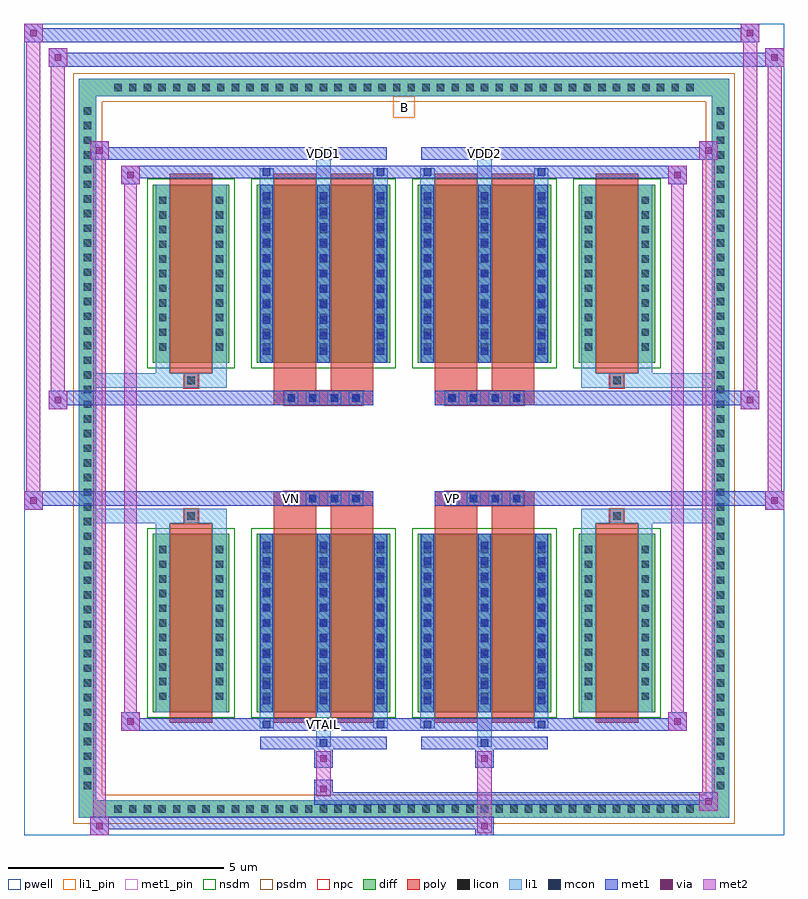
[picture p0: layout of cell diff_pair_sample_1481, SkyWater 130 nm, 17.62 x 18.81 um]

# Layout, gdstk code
import gdstk
lib = gdstk.Library(unit=1e-6, precision=5e-09)
def R(c, l, rs):  # rectangles x0, y0, x1, y1
    for r in rs: c.add(gdstk.rectangle(r[:2], r[2:], *l))
def A(c, l, x, y, w, h, nx, ny, dx, dy):  # array of equal rectangles
    R(c, l, [(x+i*dx, y+j*dy, x+i*dx+w, y+j*dy+h) for i in range(nx) for j in range(ny)])
def P(c, l, *ps):  # polygons
    for p in ps: c.add(gdstk.Polygon(p, *l))
pwell = (64, 44)
diff = (65, 20)
poly = (66, 20)
licon = (66, 44)
li1_pin = (67, 16)
li1 = (67, 20)
mcon = (67, 44)
met1_pin = (68, 16)
met1 = (68, 20)
via = (68, 44)
met2 = (69, 20)
nsdm = (93, 44)
psdm = (94, 20)
npc = (95, 20)

diff_pair_sample_1481 = lib.new_cell('diff_pair_sample_1481')
R(diff_pair_sample_1481, pwell, [(-8.81,-8.97,8.81,9.84), (-6.13,-7.16,-0.01,-0.8), (0.01,-7.16,6.13,-0.8), (-6.13,0.8,-0.01,7.16), (0.01,0.8,6.13,7.16)])
A(diff_pair_sample_1481, diff, -6.835, -8.57, 0.41, 0.41, 40, 2, 0.34, 16.73)
A(diff_pair_sample_1481, diff, -7.54, -8.025, 0.41, 0.41, 1, 47, 0, 0.34)
A(diff_pair_sample_1481, diff, 7.13, -8.025, 0.41, 0.41, 1, 47, 0, 0.34)
R(diff_pair_sample_1481, diff, [(-6.835,-8.57,6.835,-8.16), (-7.54,-8.025,-7.13,8.025), (7.13,-8.025,7.54,8.025), (-5.82,-6.115,-4.05,-1.985), (-3.41,-6.115,-0.32,-1.985), (0.32,-6.115,3.41,-1.985), (4.05,-6.115,5.82,-1.985), (-5.82,1.985,-4.05,6.115), (-3.41,1.985,-0.32,6.115), (0.32,1.985,3.41,6.115), (4.05,1.985,5.82,6.115), (-6.835,8.16,6.835,8.57)])
P(diff_pair_sample_1481, diff, [(7.54,8.57),(-7.54,8.57),(-7.54,-8.16),(-7.13,-8.16),(-7.13,8.16),(7.13,8.16),(7.13,-8.16),(-7.13,-8.16),(-7.54,-8.16),(-7.54,-8.57),(7.54,-8.57)])
A(diff_pair_sample_1481, poly, -2.78, -1.33, 0.33, 0.33, 4, 2, 0.5, 2.33)
A(diff_pair_sample_1481, poly, 0.95, -1.33, 0.33, 0.33, 4, 2, 0.5, 2.33)
R(diff_pair_sample_1481, poly, [(-5.43,-6.365,-4.44,-1.735), (-3.02,-6.365,-2.03,-1.735), (-1.7,-6.365,-0.71,-1.735), (0.71,-6.365,1.7,-1.735), (2.03,-6.365,3.02,-1.735), (4.44,-6.365,5.43,-1.735), (-5.1,-1.735,-4.77,-1.405), (-5.1,-1.735,-4.77,-1.405), (-3.02,-1.735,-2.03,-1.33), (-1.7,-1.735,-0.71,-1.33), (0.71,-1.735,1.7,-1.33), (2.03,-1.735,3.02,-1.33), (4.77,-1.735,5.1,-1.405), (4.77,-1.735,5.1,-1.405), (-3.02,-1.33,-0.71,-1), (0.71,-1.33,3.02,-1), (-3.02,1,-0.71,1.33), (0.71,1,3.02,1.33), (-3.02,1.33,-2.03,1.735), (-1.7,1.33,-0.71,1.735), (0.71,1.33,1.7,1.735), (2.03,1.33,3.02,1.735), (-5.1,1.405,-4.77,1.735), (-5.1,1.405,-4.77,1.735), (4.77,1.405,5.1,1.735), (4.77,1.405,5.1,1.735), (-5.43,1.735,-4.44,6.365), (-3.02,1.735,-2.03,6.365), (-1.7,1.735,-0.71,6.365), (0.71,1.735,1.7,6.365), (2.03,1.735,3.02,6.365), (4.44,1.735,5.43,6.365)])
A(diff_pair_sample_1481, licon, -6.715, -8.45, 0.17, 0.17, 40, 2, 0.34, 16.73)
A(diff_pair_sample_1481, licon, -7.42, -7.905, 0.17, 0.17, 1, 47, 0, 0.34)
A(diff_pair_sample_1481, licon, 7.25, -7.905, 0.17, 0.17, 1, 47, 0, 0.34)
A(diff_pair_sample_1481, licon, -5.68, -5.835, 0.17, 0.17, 1, 11, 0, 0.34)
A(diff_pair_sample_1481, licon, -4.36, -5.835, 0.17, 0.17, 1, 11, 0, 0.34)
A(diff_pair_sample_1481, licon, -3.27, -5.835, 0.17, 0.17, 3, 11, 1.32, 0.34)
A(diff_pair_sample_1481, licon, 0.46, -5.835, 0.17, 0.17, 3, 11, 1.32, 0.34)
A(diff_pair_sample_1481, licon, 4.19, -5.835, 0.17, 0.17, 1, 11, 0, 0.34)
A(diff_pair_sample_1481, licon, 5.51, -5.835, 0.17, 0.17, 1, 11, 0, 0.34)
A(diff_pair_sample_1481, licon, -2.7, -1.25, 0.17, 0.17, 4, 2, 0.5, 2.33)
A(diff_pair_sample_1481, licon, 1.03, -1.25, 0.17, 0.17, 4, 2, 0.5, 2.33)
A(diff_pair_sample_1481, licon, -5.68, 2.265, 0.17, 0.17, 1, 11, 0, 0.34)
A(diff_pair_sample_1481, licon, -4.36, 2.265, 0.17, 0.17, 1, 11, 0, 0.34)
A(diff_pair_sample_1481, licon, -3.27, 2.265, 0.17, 0.17, 3, 11, 1.32, 0.34)
A(diff_pair_sample_1481, licon, 0.46, 2.265, 0.17, 0.17, 3, 11, 1.32, 0.34)
A(diff_pair_sample_1481, licon, 4.19, 2.265, 0.17, 0.17, 1, 11, 0, 0.34)
A(diff_pair_sample_1481, licon, 5.51, 2.265, 0.17, 0.17, 1, 11, 0, 0.34)
R(diff_pair_sample_1481, licon, [(-5.02,-1.655,-4.85,-1.485), (4.85,-1.655,5.02,-1.485), (-5.02,1.485,-4.85,1.655), (4.85,1.485,5.02,1.655)])
R(diff_pair_sample_1481, li1_pin, [(-0.25,7.66,0.25,8.16)])
A(diff_pair_sample_1481, li1, -6.795, -8.53, 0.33, 0.33, 40, 2, 0.34, 16.73)
A(diff_pair_sample_1481, li1, -7.5, -7.985, 0.33, 0.33, 1, 47, 0, 0.34)
A(diff_pair_sample_1481, li1, 7.17, -7.985, 0.33, 0.33, 1, 47, 0, 0.34)
A(diff_pair_sample_1481, li1, -3.35, -6.115, 0.33, 4.13, 3, 2, 1.32, 8.1)
A(diff_pair_sample_1481, li1, 0.38, -6.115, 0.33, 4.13, 3, 2, 1.32, 8.1)
A(diff_pair_sample_1481, li1, -3.27, -5.935, 0.17, 0.17, 3, 11, 1.32, 0.36)
A(diff_pair_sample_1481, li1, -3.27, -5.935, 0.17, 3.77, 3, 2, 1.32, 8.1)
A(diff_pair_sample_1481, li1, 0.46, -5.935, 0.17, 0.17, 3, 11, 1.32, 0.36)
A(diff_pair_sample_1481, li1, 0.46, -5.935, 0.17, 3.77, 3, 2, 1.32, 8.1)
A(diff_pair_sample_1481, li1, -5.76, -5.915, 0.33, 0.33, 1, 11, 0, 0.34)
A(diff_pair_sample_1481, li1, -4.44, -5.915, 0.33, 0.33, 1, 11, 0, 0.34)
A(diff_pair_sample_1481, li1, -3.35, -5.915, 0.33, 0.33, 3, 11, 1.32, 0.34)
A(diff_pair_sample_1481, li1, 0.38, -5.915, 0.33, 0.33, 3, 11, 1.32, 0.34)
A(diff_pair_sample_1481, li1, 4.11, -5.915, 0.33, 0.33, 1, 11, 0, 0.34)
A(diff_pair_sample_1481, li1, 5.43, -5.915, 0.33, 0.33, 1, 11, 0, 0.34)
A(diff_pair_sample_1481, li1, -2.78, -1.33, 0.33, 0.33, 4, 2, 0.5, 2.33)
A(diff_pair_sample_1481, li1, 0.95, -1.33, 0.33, 0.33, 4, 2, 0.5, 2.33)
A(diff_pair_sample_1481, li1, -3.27, 2.165, 0.17, 0.17, 3, 11, 1.32, 0.36)
A(diff_pair_sample_1481, li1, 0.46, 2.165, 0.17, 0.17, 3, 11, 1.32, 0.36)
A(diff_pair_sample_1481, li1, -5.76, 2.185, 0.33, 0.33, 1, 11, 0, 0.34)
A(diff_pair_sample_1481, li1, -4.44, 2.185, 0.33, 0.33, 1, 11, 0, 0.34)
A(diff_pair_sample_1481, li1, -3.35, 2.185, 0.33, 0.33, 3, 11, 1.32, 0.34)
A(diff_pair_sample_1481, li1, 0.38, 2.185, 0.33, 0.33, 3, 11, 1.32, 0.34)
A(diff_pair_sample_1481, li1, 4.11, 2.185, 0.33, 0.33, 1, 11, 0, 0.34)
A(diff_pair_sample_1481, li1, 5.43, 2.185, 0.33, 0.33, 1, 11, 0, 0.34)
R(diff_pair_sample_1481, li1, [(-7.54,-8.57,-7.13,-8.16), (-7.54,-8.57,-7.13,-8.16), (-7.13,-8.57,7.13,-8.16), (7.13,-8.57,7.54,-8.16), (7.13,-8.57,7.54,-8.16), (-7.54,-8.16,-7.13,8.16), (7.13,-8.16,7.54,8.16), (-2.03,-6.92,-1.7,-6.115), (-1.95,-6.92,-1.78,-6.75), (1.7,-6.92,2.03,-6.115), (1.78,-6.92,1.95,-6.75), (-3.35,-6.49,-3.02,-6.115), (-3.27,-6.49,-3.1,-6.32), (-0.71,-6.49,-0.38,-6.115), (-0.63,-6.49,-0.46,-6.32), (0.38,-6.49,0.71,-6.115), (0.46,-6.49,0.63,-6.32), (3.02,-6.49,3.35,-6.115), (3.1,-6.49,3.27,-6.32), (-5.76,-6.115,-5.43,-1.985), (-4.44,-6.115,-4.11,-1.985), (4.11,-6.115,4.44,-1.985), (5.43,-6.115,5.76,-1.985), (-5.76,-1.985,-5.43,-1.405), (-4.44,-1.985,-4.11,-1.405), (4.11,-1.985,4.44,-1.405), (5.43,-1.985,5.76,-1.405), (-7.54,-1.735,-5.1,-1.405), (-5.76,-1.735,-5.1,-1.405), (-5.1,-1.735,-4.77,-1.405), (-4.77,-1.735,-4.11,-1.405), (4.11,-1.735,4.77,-1.405), (4.77,-1.735,5.1,-1.405), (4.77,-1.735,7.54,-1.405), (5.1,-1.735,5.76,-1.405), (-7.54,1.405,-5.1,1.735), (-5.76,1.405,-5.1,1.735), (-5.76,1.405,-5.43,1.985), (-5.1,1.405,-4.77,1.735), (-4.77,1.405,-4.11,1.735), (-4.44,1.405,-4.11,1.985), (4.11,1.405,4.77,1.735), (4.11,1.405,4.44,1.985), (4.77,1.405,5.1,1.735), (4.77,1.405,7.54,1.735), (5.1,1.405,5.76,1.735), (5.43,1.405,5.76,1.985), (-5.76,1.985,-5.43,6.115), (-4.44,1.985,-4.11,6.115), (4.11,1.985,4.44,6.115), (5.43,1.985,5.76,6.115), (-3.35,6.115,-3.02,6.49), (-2.03,6.115,-1.7,6.92), (-0.71,6.115,-0.38,6.49), (0.38,6.115,0.71,6.49), (1.7,6.115,2.03,6.92), (3.02,6.115,3.35,6.49), (-3.27,6.32,-3.1,6.49), (-0.63,6.32,-0.46,6.49), (0.46,6.32,0.63,6.49), (3.1,6.32,3.27,6.49), (-1.95,6.75,-1.78,6.92), (1.78,6.75,1.95,6.92), (-7.54,8.16,-7.13,8.57), (-7.54,8.16,-7.13,8.57), (-7.13,8.16,7.13,8.57), (7.13,8.16,7.54,8.57), (7.13,8.16,7.54,8.57)])
A(diff_pair_sample_1481, mcon, -3.27, -5.935, 0.17, 0.17, 3, 11, 1.32, 0.36)
A(diff_pair_sample_1481, mcon, 0.46, -5.935, 0.17, 0.17, 3, 11, 1.32, 0.36)
A(diff_pair_sample_1481, mcon, -2.7, -1.25, 0.17, 0.17, 4, 2, 0.5, 2.33)
A(diff_pair_sample_1481, mcon, 1.03, -1.25, 0.17, 0.17, 4, 2, 0.5, 2.33)
A(diff_pair_sample_1481, mcon, -3.27, 2.165, 0.17, 0.17, 3, 11, 1.32, 0.36)
A(diff_pair_sample_1481, mcon, 0.46, 2.165, 0.17, 0.17, 3, 11, 1.32, 0.36)
R(diff_pair_sample_1481, mcon, [(-1.95,-6.92,-1.78,-6.75), (1.78,-6.92,1.95,-6.75), (-3.27,-6.49,-3.1,-6.32), (-0.63,-6.49,-0.46,-6.32), (0.46,-6.49,0.63,-6.32), (3.1,-6.49,3.27,-6.32), (-3.27,6.32,-3.1,6.49), (-0.63,6.32,-0.46,6.49), (0.46,6.32,0.63,6.49), (3.1,6.32,3.27,6.49), (-1.95,6.75,-1.78,6.92), (1.78,6.75,1.95,6.92)])
R(diff_pair_sample_1481, met1_pin, [(-2,-6.53,-1.73,-6.26), (-2.75,-1.29,-2.48,-1.02), (0.98,-1.29,1.25,-1.02), (-2,6.71,-1.73,6.98), (1.73,6.71,2,6.98)])
A(diff_pair_sample_1481, met1, -3.33, -6.115, 0.29, 4.13, 3, 2, 1.32, 8.1)
A(diff_pair_sample_1481, met1, 0.4, -6.115, 0.29, 4.13, 3, 2, 1.32, 8.1)
A(diff_pair_sample_1481, met1, -3.33, -5.995, 0.29, 0.29, 3, 11, 1.32, 0.36)
A(diff_pair_sample_1481, met1, 0.4, -5.995, 0.29, 0.29, 3, 11, 1.32, 0.36)
A(diff_pair_sample_1481, met1, -2.76, -1.31, 0.29, 0.29, 4, 2, 0.5, 2.33)
A(diff_pair_sample_1481, met1, 0.97, -1.31, 0.29, 0.29, 4, 2, 0.5, 2.33)
A(diff_pair_sample_1481, met1, -3.33, 2.105, 0.29, 0.29, 3, 11, 1.32, 0.36)
A(diff_pair_sample_1481, met1, 0.4, 2.105, 0.29, 0.29, 3, 11, 1.32, 0.36)
R(diff_pair_sample_1481, met1, [(-7.27,-8.97,-6.84,-8.54), (1.65,-8.97,2.08,-8.54), (-7.27,-8.83,2.08,-8.54), (6.84,-8.4,7.27,-7.97), (-2.08,-8.26,7.27,-7.97), (-2.08,-8.12,-1.65,-7.69), (-2.08,-7.41,-1.65,-6.98), (1.65,-7.41,2.08,-6.98), (-3.33,-6.98,-0.4,-6.69), (-2.01,-6.98,-1.72,-6.69), (0.4,-6.98,3.33,-6.69), (1.72,-6.98,2.01,-6.69), (-6.56,-6.55,-6.13,-6.12), (-6.56,-6.55,-3.33,-6.26), (-3.33,-6.55,-3.04,-6.26), (-3.33,-6.55,-0.4,-6.26), (-0.69,-6.55,-0.4,-6.26), (-0.4,-6.55,0.4,-6.26), (0.4,-6.55,0.69,-6.26), (0.4,-6.55,3.33,-6.26), (3.04,-6.55,3.33,-6.26), (3.33,-6.55,6.56,-6.26), (6.13,-6.55,6.56,-6.12), (-8.81,-1.43,-8.38,-1), (8.38,-1.43,8.81,-1), (-8.81,-1.33,-0.71,-1), (-3.02,-1.33,-0.71,-1), (0.71,-1.33,3.02,-1), (0.71,-1.33,8.81,-1), (-8.24,0.9,-7.81,1.33), (7.81,0.9,8.24,1.33), (-8.24,1,-3.02,1.33), (-3.02,1,-0.71,1.33), (0.71,1,3.02,1.33), (3.02,1,8.24,1.33), (-6.56,6.12,-6.13,6.55), (6.13,6.12,6.56,6.55), (-6.56,6.26,-3.33,6.55), (-3.33,6.26,-3.04,6.55), (-3.33,6.26,-0.4,6.55), (-0.69,6.26,-0.4,6.55), (-0.4,6.26,0.4,6.55), (0.4,6.26,0.69,6.55), (0.4,6.26,3.33,6.55), (3.04,6.26,3.33,6.55), (3.33,6.26,6.56,6.55), (-7.27,6.69,-6.84,7.12), (-7.27,6.69,-3.33,6.98), (-3.33,6.69,-0.4,6.98), (-2.01,6.69,-1.72,6.98), (0.4,6.69,3.33,6.98), (1.72,6.69,2.01,6.98), (3.33,6.69,7.27,6.98), (6.84,6.69,7.27,7.12), (-8.24,8.84,-7.81,9.27), (-8.24,8.84,-6.13,9.17), (-6.13,8.84,6.13,9.17), (6.13,8.84,8.81,9.17), (8.38,8.84,8.81,9.27), (-8.81,9.41,-8.38,9.84), (-8.81,9.41,-6.13,9.74), (-6.13,9.41,6.13,9.74), (6.13,9.41,8.24,9.74), (7.81,9.41,8.24,9.84)])
R(diff_pair_sample_1481, via, [(-7.13,-8.83,-6.98,-8.68), (1.79,-8.83,1.94,-8.68), (6.98,-8.26,7.13,-8.11), (-1.94,-7.98,-1.79,-7.83), (-1.94,-7.27,-1.79,-7.12), (1.79,-7.27,1.94,-7.12), (-6.42,-6.41,-6.27,-6.26), (6.27,-6.41,6.42,-6.26), (-8.67,-1.29,-8.52,-1.14), (8.52,-1.29,8.67,-1.14), (-8.1,1.04,-7.95,1.19), (7.95,1.04,8.1,1.19), (-6.42,6.26,-6.27,6.41), (6.27,6.26,6.42,6.41), (-7.13,6.83,-6.98,6.98), (6.98,6.83,7.13,6.98), (-8.1,8.98,-7.95,9.13), (8.52,8.98,8.67,9.13), (-8.67,9.55,-8.52,9.7), (7.95,9.55,8.1,9.7)])
R(diff_pair_sample_1481, met2, [(-7.27,-8.97,-6.84,-8.54), (-7.2,-8.97,-6.91,7.12), (-6.91,-8.97,-6.84,-8.54), (-7.22,-8.92,-6.89,-8.59), (1.7,-8.92,2.03,-8.59), (1.7,-8.59,2.03,-7.36), (6.84,-8.4,7.27,-7.97), (6.91,-8.4,7.2,7.12), (7.2,-8.4,7.27,-7.97), (6.89,-8.35,7.22,-8.02), (-2.03,-8.07,-1.7,-7.74), (-2.03,-7.74,-1.7,-7.36), (-2.03,-7.36,-1.7,-7.03), (1.7,-7.36,2.03,-7.03), (-6.56,-6.55,-6.13,-6.12), (-6.49,-6.55,-6.2,6.55), (-6.2,-6.55,-6.13,-6.12), (6.13,-6.55,6.56,-6.12), (6.2,-6.55,6.49,6.55), (6.49,-6.55,6.56,-6.12), (-6.51,-6.5,-6.18,-6.17), (6.18,-6.5,6.51,-6.17), (-8.81,-1.43,-8.38,-1), (-8.76,-1.43,-8.43,9.84), (-8.43,-1.43,-8.38,-1), (8.38,-1.43,8.81,-1), (8.43,-1.43,8.76,9.27), (8.76,-1.43,8.81,-1), (-8.76,-1.38,-8.43,-1.05), (8.43,-1.38,8.76,-1.05), (-8.24,0.9,-7.81,1.33), (-8.19,0.9,-7.86,9.27), (-7.86,0.9,-7.81,1.33), (7.81,0.9,8.24,1.33), (7.86,0.9,8.19,9.84), (8.19,0.9,8.24,1.33), (-8.19,0.95,-7.86,1.28), (7.86,0.95,8.19,1.28), (-6.56,6.12,-6.13,6.55), (-6.2,6.12,-6.13,6.55), (6.13,6.12,6.56,6.55), (6.49,6.12,6.56,6.55), (-6.51,6.17,-6.18,6.5), (6.18,6.17,6.51,6.5), (-7.27,6.69,-6.84,7.12), (-6.91,6.69,-6.84,7.12), (6.84,6.69,7.27,7.12), (7.2,6.69,7.27,7.12), (-7.22,6.74,-6.89,7.07), (6.89,6.74,7.22,7.07), (-8.24,8.84,-7.81,9.27), (-7.86,8.84,-7.81,9.27), (8.38,8.84,8.81,9.27), (8.76,8.84,8.81,9.27), (-8.19,8.89,-7.86,9.22), (8.43,8.89,8.76,9.22), (-8.81,9.41,-8.38,9.84), (-8.43,9.41,-8.38,9.84), (7.81,9.41,8.24,9.84), (8.19,9.41,8.24,9.84), (-8.76,9.46,-8.43,9.79), (7.86,9.46,8.19,9.79)])
R(diff_pair_sample_1481, nsdm, [(-5.95,-6.245,-3.92,-1.855), (-3.54,-6.245,-0.19,-1.855), (0.19,-6.245,3.54,-1.855), (3.92,-6.245,5.95,-1.855), (-5.95,1.855,-3.92,6.245), (-3.54,1.855,-0.19,6.245), (0.19,1.855,3.54,6.245), (3.92,1.855,5.95,6.245)])
P(diff_pair_sample_1481, psdm, [(7.67,8.7),(-7.67,8.7),(-7.67,-8.03),(-7,-8.03),(-7,8.03),(7,8.03),(7,-8.03),(-7,-8.03),(-7.67,-8.03),(-7.67,-8.7),(7.67,-8.7)])
A(diff_pair_sample_1481, npc, -2.8, -1.35, 0.37, 0.37, 4, 2, 0.5, 2.33)
A(diff_pair_sample_1481, npc, 0.93, -1.35, 0.37, 0.37, 4, 2, 0.5, 2.33)
R(diff_pair_sample_1481, npc, [(-5.12,-1.755,-4.75,-1.385), (4.75,-1.755,5.12,-1.385), (-2.8,-1.35,-1.93,-0.98), (-2.8,-1.35,-1.93,-0.98), (-2.3,-1.35,-1.43,-0.98), (-2.3,-1.35,-1.43,-0.98), (-1.8,-1.35,-0.93,-0.98), (-1.8,-1.35,-0.93,-0.98), (0.93,-1.35,1.8,-0.98), (0.93,-1.35,1.8,-0.98), (1.43,-1.35,2.3,-0.98), (1.43,-1.35,2.3,-0.98), (1.93,-1.35,2.8,-0.98), (1.93,-1.35,2.8,-0.98), (-2.8,0.98,-1.93,1.35), (-2.8,0.98,-1.93,1.35), (-2.3,0.98,-1.43,1.35), (-2.3,0.98,-1.43,1.35), (-1.8,0.98,-0.93,1.35), (-1.8,0.98,-0.93,1.35), (0.93,0.98,1.8,1.35), (0.93,0.98,1.8,1.35), (1.43,0.98,2.3,1.35), (1.43,0.98,2.3,1.35), (1.93,0.98,2.8,1.35), (1.93,0.98,2.8,1.35), (-5.12,1.385,-4.75,1.755), (4.75,1.385,5.12,1.755)])
diff_pair_sample_1481.add(gdstk.Label('VTAIL', (-1.865,-6.395), layer=68, texttype=5))
diff_pair_sample_1481.add(gdstk.Label('VN', (-2.615,-1.155), layer=68, texttype=5))
diff_pair_sample_1481.add(gdstk.Label('VP', (1.115,-1.155), layer=68, texttype=5))
diff_pair_sample_1481.add(gdstk.Label('B', (0,7.91), layer=67, texttype=5))
diff_pair_sample_1481.add(gdstk.Label('VDD2', (1.865,6.845), layer=68, texttype=5))
diff_pair_sample_1481.add(gdstk.Label('VDD1', (-1.865,6.845), layer=68, texttype=5))

lib.write_gds('diff_pair_sample_1481.gds')
